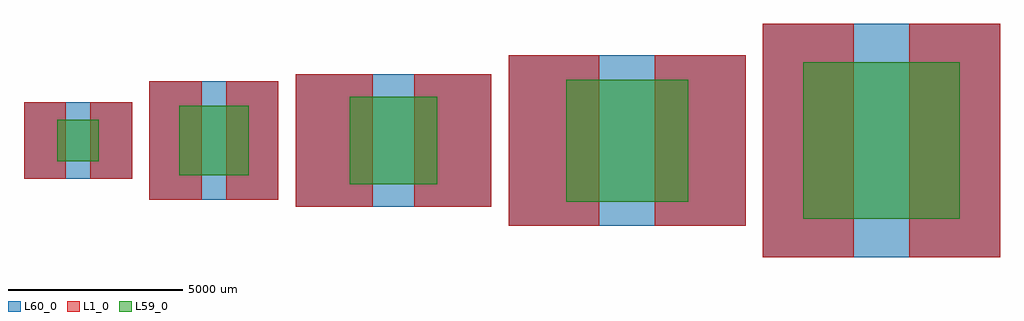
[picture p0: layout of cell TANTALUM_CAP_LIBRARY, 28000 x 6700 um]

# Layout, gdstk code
import gdstk
lib = gdstk.Library(unit=1e-6, precision=1e-09)
def R(c, l, rs):  # rectangles x0, y0, x1, y1
    for r in rs: c.add(gdstk.rectangle(r[:2], r[2:], *l))
def P(c, l, *ps):  # polygons
    for p in ps: c.add(gdstk.Polygon(p, *l))
L1_0 = (1, 0)
L59_0 = (59, 0)
L60_0 = (60, 0)

tant_a_3216 = lib.new_cell('TANT_A_3216')
R(tant_a_3216, L1_0, [(-1550,-1100,-350,1100), (350,-1100,1550,1100)])
R(tant_a_3216, L59_0, [(-600,-600,600,600)])
R(tant_a_3216, L60_0, [(-1550,-1100,1550,1100)])
P(tant_a_3216, L60_0, [(-1550,860),(-1550,1100),(-1310,1100)])
tant_a_3216.add(gdstk.Label('TANT_A_3216', (0,1200), layer=60, texttype=0))
tant_a_3216.add(gdstk.Label('3.2x1.6mm', (0,-1300), layer=60, texttype=0))

tant_b_3528 = lib.new_cell('TANT_B_3528')
R(tant_b_3528, L1_0, [(-1850,-1700,-350,1700), (350,-1700,1850,1700)])
R(tant_b_3528, L59_0, [(-1000,-1000,1000,1000)])
R(tant_b_3528, L60_0, [(-1850,-1700,1850,1700)])
P(tant_b_3528, L60_0, [(-1850,1400),(-1850,1700),(-1550,1700)])
tant_b_3528.add(gdstk.Label('TANT_B_3528', (0,1800), layer=60, texttype=0))
tant_b_3528.add(gdstk.Label('3.5x2.8mm', (0,-1900), layer=60, texttype=0))

tant_c_6032 = lib.new_cell('TANT_C_6032')
R(tant_c_6032, L1_0, [(-2800,-1900,-600,1900), (600,-1900,2800,1900)])
R(tant_c_6032, L59_0, [(-1250,-1250,1250,1250)])
R(tant_c_6032, L60_0, [(-2800,-1900,2800,1900)])
P(tant_c_6032, L60_0, [(-2800,1600),(-2800,1900),(-2500,1900)])
tant_c_6032.add(gdstk.Label('TANT_C_6032', (0,2000), layer=60, texttype=0))
tant_c_6032.add(gdstk.Label('6.0x3.2mm', (0,-2100), layer=60, texttype=0))

tant_d_7343 = lib.new_cell('TANT_D_7343')
R(tant_d_7343, L1_0, [(-3400,-2450,-800,2450), (800,-2450,3400,2450)])
R(tant_d_7343, L59_0, [(-1750,-1750,1750,1750)])
R(tant_d_7343, L60_0, [(-3400,-2450,3400,2450)])
P(tant_d_7343, L60_0, [(-3400,2150),(-3400,2450),(-3100,2450)])
tant_d_7343.add(gdstk.Label('TANT_D_7343', (0,2550), layer=60, texttype=0))
tant_d_7343.add(gdstk.Label('7.3x4.3mm', (0,-2650), layer=60, texttype=0))

tant_e_7361 = lib.new_cell('TANT_E_7361')
R(tant_e_7361, L1_0, [(-3400,-3350,-800,3350), (800,-3350,3400,3350)])
R(tant_e_7361, L59_0, [(-2250,-2250,2250,2250)])
R(tant_e_7361, L60_0, [(-3400,-3350,3400,3350)])
P(tant_e_7361, L60_0, [(-3400,3050),(-3400,3350),(-3100,3350)])
tant_e_7361.add(gdstk.Label('TANT_E_7361', (0,3450), layer=60, texttype=0))
tant_e_7361.add(gdstk.Label('7.3x6.1mm', (0,-3550), layer=60, texttype=0))

tantalum_cap_library = lib.new_cell('TANTALUM_CAP_LIBRARY')
tantalum_cap_library.add(gdstk.Reference(tant_a_3216, (1550,0)))
tantalum_cap_library.add(gdstk.Reference(tant_b_3528, (5450,0)))
tantalum_cap_library.add(gdstk.Reference(tant_c_6032, (10600,0)))
tantalum_cap_library.add(gdstk.Reference(tant_d_7343, (17300,0)))
tantalum_cap_library.add(gdstk.Reference(tant_e_7361, (24600,0)))

lib.write_gds('TANTALUM_CAP_LIBRARY.gds')
